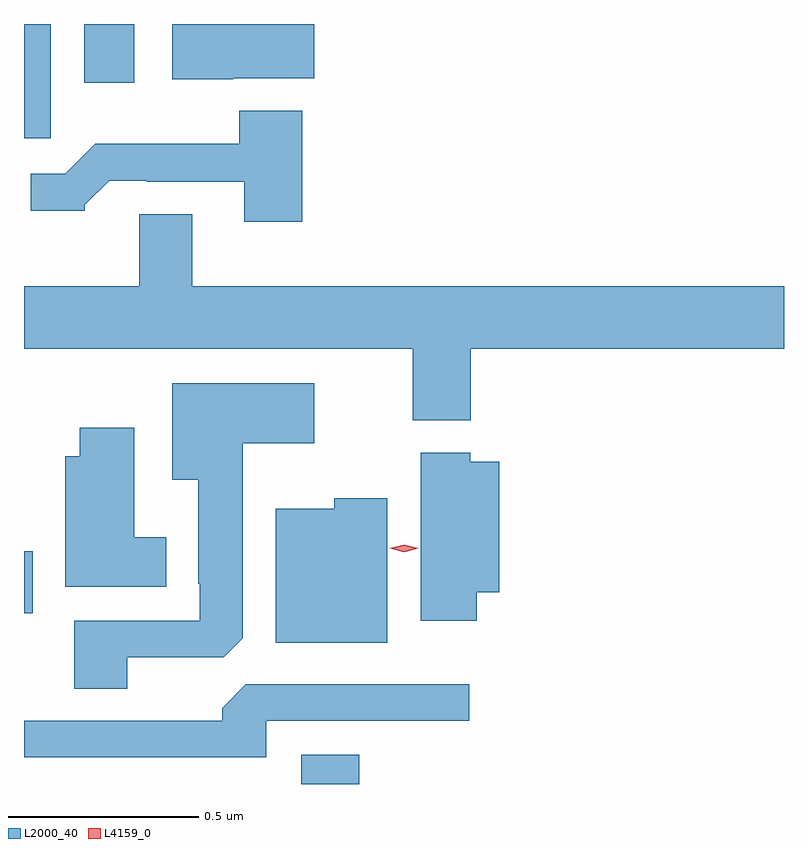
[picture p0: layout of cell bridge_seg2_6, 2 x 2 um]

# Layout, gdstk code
import gdstk
lib = gdstk.Library(unit=1e-6, precision=1e-09)
def R(c, l, rs):  # rectangles x0, y0, x1, y1
    for r in rs: c.add(gdstk.rectangle(r[:2], r[2:], *l))
def P(c, l, *ps):  # polygons
    for p in ps: c.add(gdstk.Polygon(p, *l))
L2000_40 = (2000, 40)
L4159_0 = (4159, 0)

bridge_seg2_6 = lib.new_cell('bridge_seg2_6')
R(bridge_seg2_6, L2000_40, [(649.883,643.826,650.036,643.903), (649.154,644.276,649.177,644.439), (649.154,645.525,649.225,645.826), (649.313,645.672,649.444,645.826)])
P(bridge_seg2_6, L2000_40, [(649.704,645.683),(649.918,645.683),(649.918,645.826),(649.544,645.826),(649.544,645.68),(649.704,645.68)],
  [(649.886,645.598),(649.721,645.598),(649.721,645.511),(649.342,645.511),(649.263,645.432),(649.172,645.432),(649.172,645.335),(649.314,645.335),(649.314,645.35),(649.378,645.414),(649.477,645.414),(649.477,645.411),(649.733,645.411),(649.733,645.306),(649.886,645.306)],
  [(650.177,644.783),(650.33,644.783),(650.33,644.972),(651.154,644.972),(651.154,645.136),(649.597,645.136),(649.597,645.326),(649.457,645.326),(649.457,645.136),(649.154,645.136),(649.154,644.972),(650.177,644.972)],
  [(649.426,644.16),(649.68,644.16),(649.729,644.209),(649.729,644.723),(649.918,644.723),(649.918,644.881),(649.544,644.881),(649.544,644.627),(649.613,644.627),(649.613,644.353),(649.617,644.353),(649.617,644.256),(649.286,644.256),(649.286,644.077),(649.426,644.077)],
  [(649.528,644.476),(649.444,644.476),(649.444,644.764),(649.301,644.764),(649.301,644.689),(649.262,644.689),(649.262,644.345),(649.528,644.345)],
  [(650.345,644.33),(650.404,644.33),(650.404,644.674),(650.328,644.674),(650.328,644.698),(650.198,644.698),(650.198,644.256),(650.345,644.256)],
  [(650.11,644.578),(649.971,644.578),(649.971,644.551),(649.817,644.551),(649.817,644.198),(650.11,644.198)],
  [(649.791,643.992),(650.326,643.992),(650.326,644.088),(649.737,644.088),(649.676,644.026),(649.676,643.992),(649.154,643.992),(649.154,643.896),(649.791,643.896)])
P(bridge_seg2_6, L4159_0, [(650.154,644.436),(650.117,644.446),(650.117,644.446),(650.117,644.446),(650.154,644.456),(650.191,644.447),(650.192,644.447),(650.191,644.447)])

lib.write_gds('bridge_seg2_6.gds')
